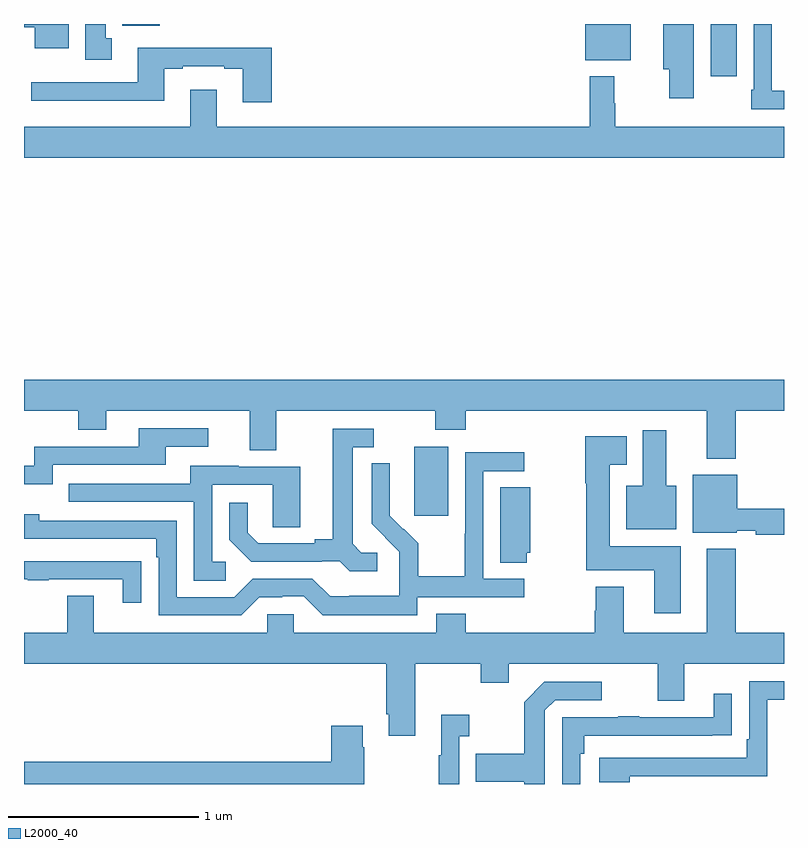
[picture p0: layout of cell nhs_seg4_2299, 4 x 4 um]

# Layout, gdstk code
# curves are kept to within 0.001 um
import gdstk
lib = gdstk.Library(unit=1e-6, precision=1e-09)
def R(c, l, rs):  # rectangles x0, y0, x1, y1
    for r in rs: c.add(gdstk.rectangle(r[:2], r[2:], *l))
def P(c, l, *ps):  # polygons
    for p in ps: c.add(gdstk.Polygon(p, *l))
L2000_40 = (2000, 40)

nhs_seg4_2299 = lib.new_cell('nhs_seg4_2299')
R(nhs_seg4_2299, L2000_40, [(233.054,752.313,233.233,752.674), (234.614,754.626,234.751,754.9), (233.954,754.709,234.193,754.9), (231.518,754.892,231.715,754.9)])
P(nhs_seg4_2299, L2000_40, [(231.235,754.9),(231,754.9),(231,754.883),(231.056,754.883),(231.056,754.772),(231.235,754.772)],
  [(231.463,754.826),(231.43,754.826),(231.43,754.9),(231.323,754.9),(231.323,754.713),(231.463,754.713)],
  [(234.526,754.9),(234.365,754.9),(234.365,754.661),(234.397,754.661),(234.397,754.509),(234.526,754.509)],
  [(235,754.548),(234.936,754.548),(234.936,754.9),(234.84,754.9),(234.84,754.555),(234.828,754.555),(234.828,754.452),(235,754.452)],
  [(232.304,754.774),(231.599,754.774),(231.599,754.593),(231.039,754.593),(231.039,754.496),(231.739,754.496),(231.739,754.665),(231.835,754.665),(231.835,754.677),(232.055,754.677),(232.055,754.665),(232.151,754.665),(232.151,754.488),(232.304,754.488)],
  [(235,754.36),(234.113,754.36),(234.113,754.484),(234.106,754.484),(234.106,754.624),(233.977,754.624),(233.977,754.36),(232.015,754.36),(232.015,754.555),(231.875,754.555),(231.875,754.36),(231,754.36),(231,754.196),(235,754.196)],
  [(234.746,752.864),(235,752.864),(235,753.028),(231,753.028),(231,752.864),(231.286,752.864),(231.286,752.765),(231.433,752.765),(231.433,752.864),(232.187,752.864),(232.187,752.656),(232.327,752.656),(232.327,752.864),(233.164,752.864),(233.164,752.765),(233.324,752.765),(233.324,752.864),(234.593,752.864),(234.593,752.612),(234.746,752.612)],
  [(231.15,752.58),(231.745,752.58),(231.745,752.676),(231.97,752.676),(231.97,752.772),(231.605,752.772),(231.605,752.676),(231.054,752.676),(231.054,752.574),(231,752.574),(231,752.477),(231.15,752.477)],
  [(232.858,752.118),(232.776,752.118),(232.729,752.165),(232.729,752.673),(232.84,752.673),(232.84,752.769),(232.625,752.769),(232.625,752.189),(232.529,752.189),(232.529,752.166),(232.234,752.166),(232.177,752.223),(232.177,752.38),(232.08,752.38),(232.08,752.186),(232.196,752.07),(232.568,752.07),(232.568,752.073),(232.662,752.073),(232.714,752.021),(232.858,752.021)],
  [(234.433,752.47),(234.379,752.47),(234.379,752.761),(234.257,752.761),(234.257,752.47),(234.17,752.47),(234.17,752.24),(234.433,752.24)],
  [(234.457,752.152),(234.082,752.152),(234.082,752.579),(234.172,752.579),(234.172,752.731),(233.953,752.731),(233.953,752.483),(233.96,752.483),(233.96,752.024),(234.317,752.024),(234.317,751.8),(234.457,751.8)],
  [(233.07,751.884),(233.632,751.884),(233.632,751.98),(233.418,751.98),(233.418,752.547),(233.632,752.547),(233.632,752.646),(233.322,752.646),(233.322,752.216),(233.32,752.216),(233.32,751.993),(233.075,751.993),(233.075,752.167),(232.998,752.244),(232.995,752.241),(232.925,752.312),(232.926,752.588),(232.83,752.588),(232.83,752.27),(232.976,752.122),(232.976,752.025),(232.974,752.025),(232.974,751.891),(232.711,751.891),(232.711,751.887),(232.611,751.887),(232.518,751.98),(232.203,751.98),(232.107,751.884),(231.804,751.884),(231.804,752.286),(231.08,752.286),(231.08,752.32),(231,752.32),(231,752.19),(231.695,752.19),(231.695,752.093),(231.708,752.093),(231.708,751.788),(232.143,751.788),(232.239,751.884),(232.358,751.884),(232.358,751.887),(232.473,751.887),(232.573,751.787),(233.07,751.787)],
  [(232.063,752.07),(231.99,752.07),(231.99,752.475),(232.308,752.475),(232.308,752.251),(232.453,752.251),(232.453,752.571),(232.129,752.571),(232.129,752.575),(231.875,752.575),(231.875,752.481),(231.235,752.481),(231.235,752.385),(231.894,752.385),(231.894,751.969),(232.063,751.969)],
  [(235,752.348),(234.754,752.348),(234.754,752.527),(234.521,752.527),(234.521,752.222),(234.75,752.222),(234.75,752.232),(234.85,752.232),(234.85,752.212),(235,752.212)],
  [(233.646,752.118),(233.665,752.118),(233.665,752.462),(233.507,752.462),(233.507,752.065),(233.646,752.065)],
  [(233.059,751.532),(233.404,751.532),(233.404,751.433),(233.551,751.433),(233.551,751.532),(234.335,751.532),(234.335,751.338),(234.475,751.338),(234.475,751.532),(235,751.532),(235,751.696),(234.746,751.696),(234.746,752.137),(234.593,752.137),(234.593,751.696),(234.157,751.696),(234.157,751.939),(234.01,751.939),(234.01,751.812),(234.005,751.812),(234.005,751.696),(233.324,751.696),(233.324,751.795),(233.171,751.795),(233.171,751.696),(232.419,751.696),(232.419,751.794),(232.281,751.794),(232.281,751.696),(231.367,751.696),(231.367,751.891),(231.227,751.891),(231.227,751.696),(231,751.696),(231,751.532),(232.907,751.532),(232.907,751.267),(232.919,751.267),(232.919,751.155),(233.059,751.155)],
  [(231.617,752.072),(231.515,752.072),(231.515,752.073),(231,752.073),(231,751.977),(231.019,751.977),(231.019,751.972),(231.131,751.972),(231.131,751.977),(231.521,751.977),(231.521,751.854),(231.617,751.854)],
  [(234.188,750.942),(234.912,750.942),(234.912,751.344),(235,751.344),(235,751.44),(234.816,751.44),(234.816,751.135),(234.803,751.135),(234.803,751.038),(234.027,751.038),(234.027,750.908),(234.188,750.908)],
  [(233.742,751.287),(233.796,751.341),(234.04,751.341),(234.04,751.437),(233.739,751.437),(233.634,751.331),(233.634,751.059),(233.377,751.059),(233.377,750.911),(233.634,750.911),(233.634,750.9),(233.742,750.9)],
  [(233.928,751.058),(233.948,751.058),(233.948,751.155),(234.623,751.155),(234.623,751.156),(234.725,751.156),(234.725,751.375),(234.629,751.375),(234.629,751.251),(234.239,751.251),(234.239,751.256),(234.127,751.256),(234.127,751.251),(233.832,751.251),(233.832,750.9),(233.928,750.9)],
  [(233.292,751.151),(233.344,751.151),(233.344,751.264),(233.195,751.264),(233.195,751.051),(233.184,751.051),(233.184,750.9),(233.292,750.9)],
  [(232.791,751.094),(232.783,751.094),(232.783,751.207),(232.616,751.207),(232.616,751.016),(231,751.016),(231,750.9),(232.791,750.9)])

lib.write_gds('nhs_seg4_2299.gds')
